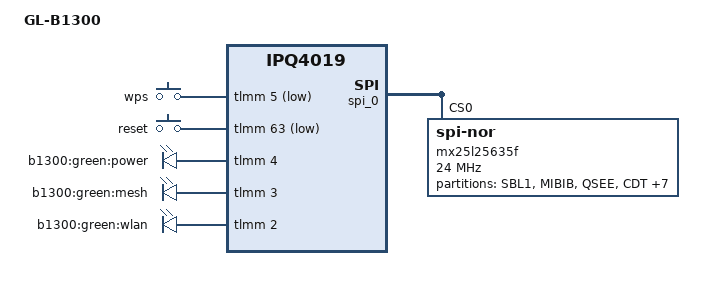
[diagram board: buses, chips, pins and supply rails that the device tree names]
/* Copyright (c) 2015, The Linux Foundation. All rights reserved.
 * Copyright (c) 2017, Sven Eckelmann <sven.eckelmann@openmesh.com>
 * Copyright (c) 2017, handongming <handongging@gl-inet.com>
 *
 * Permission to use, copy, modify, and/or distribute this software for any
 * purpose with or without fee is hereby granted, provided that the above
 * copyright notice and this permission notice appear in all copies.
 *
 * THE SOFTWARE IS PROVIDED "AS IS" AND THE AUTHOR DISCLAIMS ALL WARRANTIES
 * WITH REGARD TO THIS SOFTWARE INCLUDING ALL IMPLIED WARRANTIES OF
 * MERCHANTABILITY AND FITNESS. IN NO EVENT SHALL THE AUTHOR BE LIABLE FOR
 * ANY SPECIAL, DIRECT, INDIRECT, OR CONSEQUENTIAL DAMAGES OR ANY DAMAGES
 * WHATSOEVER RESULTING FROM LOSS OF USE, DATA OR PROFITS, WHETHER IN AN
 * ACTION OF CONTRACT, NEGLIGENCE OR OTHER TORTIOUS ACTION, ARISING OUT OF
 * OR IN CONNECTION WITH THE USE OR PERFORMANCE OF THIS SOFTWARE.
 *
 */

#include "qcom-ipq4019-ap.dk01.1.dtsi"
#include "qcom-ipq4019-bus.dtsi"
#include <dt-bindings/gpio/gpio.h>
#include <dt-bindings/input/input.h>

/ {
	model = "GL-B1300";
	compatible = "GL.iNet,gl-b1300", "qcom,ipq4019";

	chosen {
		bootargs = "rootfsname=rootfs rootwait";
	};

	reserved-memory {
		#address-cells = <0x1>;
		#size-cells = <0x1>;
		ranges;

		rsvd1@87E00000 {
			reg = <0x87e00000 0x200000>;
			no-map;
		};

		wifi_dump@87500000 {
			reg = <0x87500000 0x600000>;
			no-map;
		};

		rsvd2@87B00000 {
			reg = <0x87b00000 0x500000>;
			no-map;
		};
	};

	soc {
		edma@c080000 {
			status = "okay";

			/delete-node/ gmac0;

			gmac0: gmac0 {
				local-mac-address = [00 00 00 00 00 00];
				qcom,phy_mdio_addr = <4>;
				qcom,poll_required = <1>;
				qcom,forced_speed = <1000>;
				qcom,forced_duplex = <1>;
				vlan_tag = <2 0x20>;
			};

			/delete-node/ gmac1;

			gmac1: gmac1 {
				local-mac-address = [00 00 00 00 00 00];
				vlan_tag = <1 0x1f>;
			};
		};
	};

	gpio-keys {
		compatible = "gpio-keys";

		wps {
			label = "wps";
			gpios = <&tlmm 5 GPIO_ACTIVE_LOW>;
			linux,code = <KEY_WPS_BUTTON>;
		};
		reset {
			label = "reset";
			gpios = <&tlmm 63 GPIO_ACTIVE_LOW>;
			linux,code = <KEY_RESTART>;
		};
	};

	gpio-leds {
		compatible = "gpio-leds";

		power {
			label = "b1300:green:power";
			gpios = <&tlmm 4 GPIO_ACTIVE_HIGH>;
			default-state = "on";
		};
		mesh {
			label = "b1300:green:mesh";
			gpios = <&tlmm 3 GPIO_ACTIVE_HIGH>;
		};
		wlan {
			label = "b1300:green:wlan";
			gpios = <&tlmm 2 GPIO_ACTIVE_HIGH>;
		};
	};
};

&spi_0 { /* BLSP1 QUP1 */
	status = "ok";

	mx25l25635f@0 {
		compatible = "jedec,spi-nor";
		#address-cells = <1>;
		#size-cells = <1>;
		reg = <0>;
		spi-max-frequency = <24000000>;

		partitions {
			compatible = "fixed-partitions";
			#address-cells = <1>;
			#size-cells = <1>;

			partition0@0 {
				label = "SBL1";
				reg = <0x00000000 0x00040000>;
				read-only;
			};
			partition1@40000 {
				label = "MIBIB";
				reg = <0x00040000 0x00020000>;
				read-only;
			};
			partition2@60000 {
				label = "QSEE";
				reg = <0x00060000 0x00060000>;
				read-only;
			};
			partition3@c0000 {
				label = "CDT";
				reg = <0x000c0000 0x00010000>;
				read-only;
			};
			partition4@d0000 {
				label = "DDRPARAMS";
				reg = <0x000d0000 0x00010000>;
				read-only;
			};
			partition5@e0000 {
				label = "APPSBLENV"; /* u-boot env*/
				reg = <0x000e0000 0x00010000>;
				read-only;
			};
			partition6@f0000 {
				label = "APPSBL"; /* u-boot */
				reg = <0x000f0000 0x00080000>;
				read-only;
			};
			partition7@170000 {
				/* make a backup of this partition! */
				label = "ART";
				reg = <0x00170000 0x00010000>;
				read-only;
			};
			kernel@180000 {
				label = "kernel";
				reg = <0x180000 0x400000>;
			};
			rootfs@580000 {
				label = "rootfs";
				reg = <0x580000 0x1600000>;
			};
			firmware@180000 {
				label = "firmware";
				reg = <0x180000 0x1a00000>;
			};
		};
	};
};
